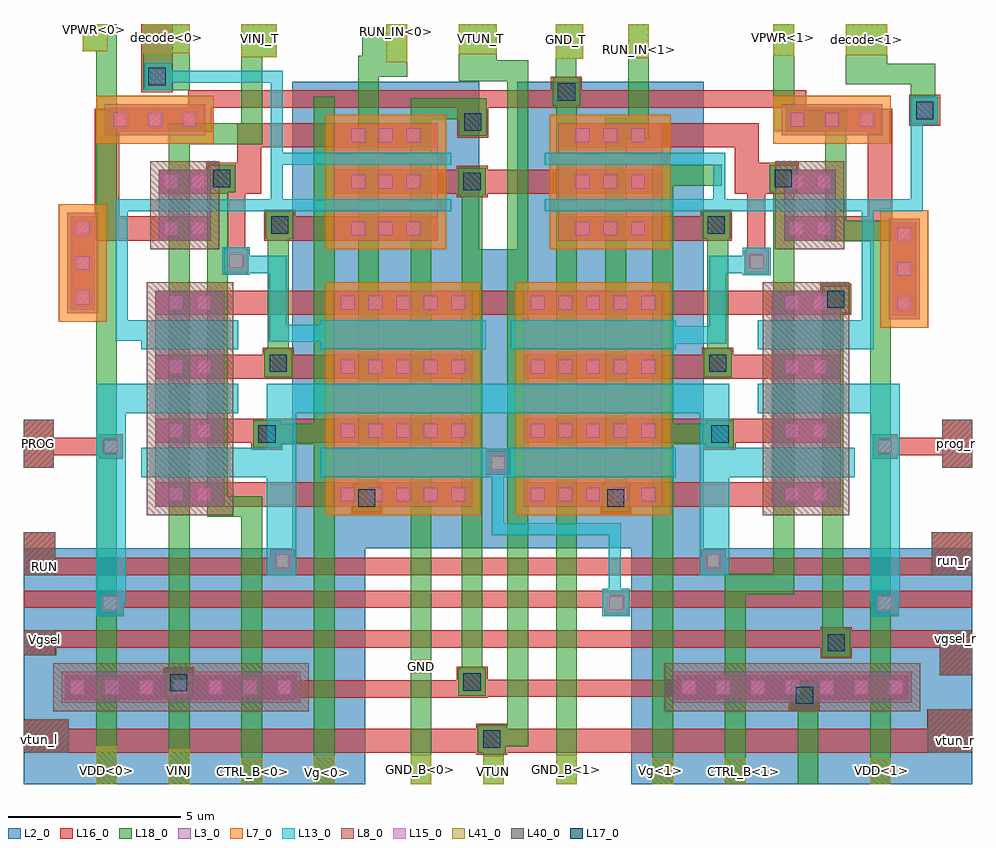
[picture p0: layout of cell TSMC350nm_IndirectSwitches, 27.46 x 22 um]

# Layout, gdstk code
from math import pi, radians
import gdstk
lib = gdstk.Library(unit=1e-6, precision=1e-09)
def R(c, l, rs):  # rectangles x0, y0, x1, y1
    for r in rs: c.add(gdstk.rectangle(r[:2], r[2:], *l))
def A(c, l, x, y, w, h, nx, ny, dx, dy):  # array of equal rectangles
    R(c, l, [(x+i*dx, y+j*dy, x+i*dx+w, y+j*dy+h) for i in range(nx) for j in range(ny)])
def P(c, l, *ps):  # polygons
    for p in ps: c.add(gdstk.Polygon(p, *l))
L2_0 = (2, 0)
L3_0 = (3, 0)
L7_0 = (7, 0)
L8_0 = (8, 0)
L13_0 = (13, 0)
L15_0 = (15, 0)
L16_0 = (16, 0)
L17_0 = (17, 0)
L18_0 = (18, 0)
L40_0 = (40, 0)
L41_0 = (41, 0)

nch_cdns_731000754340 = lib.new_cell('nch_CDNS_731000754340')
R(nch_cdns_731000754340, L3_0, [(-0.85,0,-0.15,1.5), (-0.85,0,-0.15,1.5), (-0.15,0,0.5,1.5), (0.5,0,1.2,1.5), (0.5,0,1.2,1.5)])
R(nch_cdns_731000754340, L8_0, [(-1.1,-0.25,1.45,1.75)])
R(nch_cdns_731000754340, L13_0, [(0,-0.4,0.35,1.9)])
R(nch_cdns_731000754340, L15_0, [(-0.7,0.15,-0.3,0.55), (0.65,0.15,1.05,0.55), (-0.7,0.95,-0.3,1.35), (0.65,0.95,1.05,1.35)])
R(nch_cdns_731000754340, L16_0, [(-0.85,0,-0.15,1.5), (0.5,0,1.2,1.5)])
nch_cdns_731000754340.add(gdstk.Label('G', (0.175,0.75), layer=59, texttype=0))
nch_cdns_731000754340.add(gdstk.Label('S', (-0.5,0.75), layer=59, texttype=0))
nch_cdns_731000754340.add(gdstk.Label('D', (0.85,0.75), layer=59, texttype=0))
nch_cdns_731000754340.add(gdstk.Label('& Vendor VIS Corp.', (0,0), layer=16, texttype=0))
nch_cdns_731000754340.add(gdstk.Label('& PDKName     vis35cv', (0,0), layer=16, texttype=0))
nch_cdns_731000754340.add(gdstk.Label('& Version    \t  1.7A', (0,0), layer=16, texttype=0))
nch_cdns_731000754340.add(gdstk.Label('& Metric 1', (0,0), layer=16, texttype=0))
nch_cdns_731000754340.add(gdstk.Label('& Distributor VIS', (0,0), layer=16, texttype=0))
nch_cdns_731000754340.add(gdstk.Label('& SerialNumber 000000', (0,0), layer=16, texttype=0))
nch_cdns_731000754340.add(gdstk.Label('& Vendor VIS Corp.', (0,0), layer=63, texttype=63))
nch_cdns_731000754340.add(gdstk.Label('& PDKName     vis35cv', (0,0), layer=63, texttype=63))
nch_cdns_731000754340.add(gdstk.Label('& Version    \t  1.7A', (0,0), layer=63, texttype=63))
nch_cdns_731000754340.add(gdstk.Label('& Metric 1', (0,0), layer=63, texttype=63))
nch_cdns_731000754340.add(gdstk.Label('& Distributor VIS', (0,0), layer=63, texttype=63))
nch_cdns_731000754340.add(gdstk.Label('& SerialNumber 000000', (0,0), layer=63, texttype=63))

nch_cdns_731000754341 = lib.new_cell('nch_CDNS_731000754341')
A(nch_cdns_731000754341, L3_0, -0.85, 0, 0.7, 2, 4, 1, 1.85, 0)
A(nch_cdns_731000754341, L3_0, -0.15, 0, 1.15, 2, 3, 1, 1.85, 0)
R(nch_cdns_731000754341, L3_0, [(-0.85,0,-0.15,2), (4.7,0,5.4,2)])
R(nch_cdns_731000754341, L8_0, [(-1.1,-0.25,5.65,2.25)])
A(nch_cdns_731000754341, L13_0, 0, -0.4, 0.85, 2.8, 3, 1, 1.85, 0)
A(nch_cdns_731000754341, L15_0, -0.7, 0.4, 0.4, 0.4, 4, 2, 1.85, 0.8)
A(nch_cdns_731000754341, L16_0, -0.85, 0, 0.7, 2, 4, 1, 1.85, 0)
nch_cdns_731000754341.add(gdstk.Label('G', (0.425,1), layer=59, texttype=0))
nch_cdns_731000754341.add(gdstk.Label('G', (2.275,1), layer=59, texttype=0))
nch_cdns_731000754341.add(gdstk.Label('G', (4.125,1), layer=59, texttype=0))
nch_cdns_731000754341.add(gdstk.Label('S', (-0.5,1), layer=59, texttype=0))
nch_cdns_731000754341.add(gdstk.Label('S', (3.2,1), layer=59, texttype=0))
nch_cdns_731000754341.add(gdstk.Label('D', (5.05,1), layer=59, texttype=0))
nch_cdns_731000754341.add(gdstk.Label('D', (1.35,1), layer=59, texttype=0))
nch_cdns_731000754341.add(gdstk.Label('& Vendor VIS Corp.', (0,0), layer=16, texttype=0))
nch_cdns_731000754341.add(gdstk.Label('& PDKName     vis35cv', (0,0), layer=16, texttype=0))
nch_cdns_731000754341.add(gdstk.Label('& Version    \t  1.7A', (0,0), layer=16, texttype=0))
nch_cdns_731000754341.add(gdstk.Label('& Metric 1', (0,0), layer=16, texttype=0))
nch_cdns_731000754341.add(gdstk.Label('& Distributor VIS', (0,0), layer=16, texttype=0))
nch_cdns_731000754341.add(gdstk.Label('& SerialNumber 000000', (0,0), layer=16, texttype=0))
nch_cdns_731000754341.add(gdstk.Label('& Vendor VIS Corp.', (0,0), layer=63, texttype=63))
nch_cdns_731000754341.add(gdstk.Label('& PDKName     vis35cv', (0,0), layer=63, texttype=63))
nch_cdns_731000754341.add(gdstk.Label('& Version    \t  1.7A', (0,0), layer=63, texttype=63))
nch_cdns_731000754341.add(gdstk.Label('& Metric 1', (0,0), layer=63, texttype=63))
nch_cdns_731000754341.add(gdstk.Label('& Distributor VIS', (0,0), layer=63, texttype=63))
nch_cdns_731000754341.add(gdstk.Label('& SerialNumber 000000', (0,0), layer=63, texttype=63))

pch_cdns_731000754342 = lib.new_cell('pch_CDNS_731000754342')
R(pch_cdns_731000754342, L2_0, [(-2.05,-1.2,6.6,5.2)])
A(pch_cdns_731000754342, L3_0, -0.85, 0, 0.7, 4, 4, 1, 1.85, 0)
A(pch_cdns_731000754342, L3_0, -0.15, 0, 1.15, 4, 3, 1, 1.85, 0)
R(pch_cdns_731000754342, L3_0, [(-0.85,0,-0.15,4), (4.7,0,5.4,4)])
R(pch_cdns_731000754342, L7_0, [(-1.1,-0.25,5.65,4.25)])
A(pch_cdns_731000754342, L13_0, 0, -0.4, 0.85, 4.8, 3, 1, 1.85, 0)
A(pch_cdns_731000754342, L15_0, -0.7, 0.2, 0.4, 0.4, 4, 5, 1.85, 0.8)
A(pch_cdns_731000754342, L16_0, -0.85, 0, 0.7, 4, 4, 1, 1.85, 0)
pch_cdns_731000754342.add(gdstk.Label('G', (0.425,2), layer=59, texttype=0))
pch_cdns_731000754342.add(gdstk.Label('G', (2.275,2), layer=59, texttype=0))
pch_cdns_731000754342.add(gdstk.Label('G', (4.125,2), layer=59, texttype=0))
pch_cdns_731000754342.add(gdstk.Label('S', (-0.5,2), layer=59, texttype=0))
pch_cdns_731000754342.add(gdstk.Label('S', (3.2,2), layer=59, texttype=0))
pch_cdns_731000754342.add(gdstk.Label('D', (5.05,2), layer=59, texttype=0))
pch_cdns_731000754342.add(gdstk.Label('D', (1.35,2), layer=59, texttype=0))
pch_cdns_731000754342.add(gdstk.Label('& Vendor VIS Corp.', (0,0), layer=16, texttype=0))
pch_cdns_731000754342.add(gdstk.Label('& PDKName     vis35cv', (0,0), layer=16, texttype=0))
pch_cdns_731000754342.add(gdstk.Label('& Version    \t  1.7A', (0,0), layer=16, texttype=0))
pch_cdns_731000754342.add(gdstk.Label('& Metric 1', (0,0), layer=16, texttype=0))
pch_cdns_731000754342.add(gdstk.Label('& Distributor VIS', (0,0), layer=16, texttype=0))
pch_cdns_731000754342.add(gdstk.Label('& SerialNumber 000000', (0,0), layer=16, texttype=0))
pch_cdns_731000754342.add(gdstk.Label('& Vendor VIS Corp.', (0,0), layer=63, texttype=63))
pch_cdns_731000754342.add(gdstk.Label('& PDKName     vis35cv', (0,0), layer=63, texttype=63))
pch_cdns_731000754342.add(gdstk.Label('& Version    \t  1.7A', (0,0), layer=63, texttype=63))
pch_cdns_731000754342.add(gdstk.Label('& Metric 1', (0,0), layer=63, texttype=63))
pch_cdns_731000754342.add(gdstk.Label('& Distributor VIS', (0,0), layer=63, texttype=63))
pch_cdns_731000754342.add(gdstk.Label('& SerialNumber 000000', (0,0), layer=63, texttype=63))

pch_cdns_731000754343 = lib.new_cell('pch_CDNS_731000754343')
R(pch_cdns_731000754343, L2_0, [(-2.05,-1.2,3.75,4.2)])
A(pch_cdns_731000754343, L3_0, -0.85, 0, 0.7, 3, 3, 1, 1.35, 0)
R(pch_cdns_731000754343, L3_0, [(-0.85,0,-0.15,3), (-0.15,0,0.5,3), (1.2,0,1.85,3), (1.85,0,2.55,3)])
R(pch_cdns_731000754343, L7_0, [(-1.1,-0.25,2.8,3.25)])
R(pch_cdns_731000754343, L13_0, [(0,-0.4,0.35,3.4), (1.35,-0.4,1.7,3.4)])
A(pch_cdns_731000754343, L15_0, -0.7, 0.5, 0.4, 0.4, 3, 3, 1.35, 0.8)
A(pch_cdns_731000754343, L16_0, -0.85, 0, 0.7, 3, 3, 1, 1.35, 0)
pch_cdns_731000754343.add(gdstk.Label('G', (0.175,1.5), layer=59, texttype=0))
pch_cdns_731000754343.add(gdstk.Label('G', (1.525,1.5), layer=59, texttype=0))
pch_cdns_731000754343.add(gdstk.Label('S', (2.2,1.5), layer=59, texttype=0))
pch_cdns_731000754343.add(gdstk.Label('S', (-0.5,1.5), layer=59, texttype=0))
pch_cdns_731000754343.add(gdstk.Label('D', (0.85,1.5), layer=59, texttype=0))
pch_cdns_731000754343.add(gdstk.Label('& Vendor VIS Corp.', (0,0), layer=16, texttype=0))
pch_cdns_731000754343.add(gdstk.Label('& PDKName     vis35cv', (0,0), layer=16, texttype=0))
pch_cdns_731000754343.add(gdstk.Label('& Version    \t  1.7A', (0,0), layer=16, texttype=0))
pch_cdns_731000754343.add(gdstk.Label('& Metric 1', (0,0), layer=16, texttype=0))
pch_cdns_731000754343.add(gdstk.Label('& Distributor VIS', (0,0), layer=16, texttype=0))
pch_cdns_731000754343.add(gdstk.Label('& SerialNumber 000000', (0,0), layer=16, texttype=0))
pch_cdns_731000754343.add(gdstk.Label('& Vendor VIS Corp.', (0,0), layer=63, texttype=63))
pch_cdns_731000754343.add(gdstk.Label('& PDKName     vis35cv', (0,0), layer=63, texttype=63))
pch_cdns_731000754343.add(gdstk.Label('& Version    \t  1.7A', (0,0), layer=63, texttype=63))
pch_cdns_731000754343.add(gdstk.Label('& Metric 1', (0,0), layer=63, texttype=63))
pch_cdns_731000754343.add(gdstk.Label('& Distributor VIS', (0,0), layer=63, texttype=63))
pch_cdns_731000754343.add(gdstk.Label('& SerialNumber 000000', (0,0), layer=63, texttype=63))

m1_pactive_cdns_73100075 = lib.new_cell('M1_PACTIVE_CDNS_731000754341')
R(m1_pactive_cdns_73100075, L3_0, [(-1.45,-0.45,1.45,0.45)])
R(m1_pactive_cdns_73100075, L7_0, [(-1.7,-0.7,1.7,0.7)])
A(m1_pactive_cdns_73100075, L15_0, -1.2, -0.2, 0.4, 0.4, 3, 1, 1, 0)
R(m1_pactive_cdns_73100075, L16_0, [(-1.35,-0.35,1.35,0.35)])

prog_periph_via2_cdns_75 = lib.new_cell('prog_periph_VIA2_CDNS_757104477250')
R(prog_periph_via2_cdns_75, L16_0, [(-0.45,-0.45,0.45,0.45)])
R(prog_periph_via2_cdns_75, L17_0, [(-0.25,-0.25,0.25,0.25)])
R(prog_periph_via2_cdns_75, L18_0, [(-0.4,-0.4,0.4,0.4)])

m1_poly1__190324780_cdns = lib.new_cell('M1_POLY1$$190324780_CDNS_757104477251')
R(m1_poly1__190324780_cdns, L13_0, [(-0.4,-0.4,0.4,0.4)])
R(m1_poly1__190324780_cdns, L15_0, [(-0.2,-0.2,0.2,0.2)])
R(m1_poly1__190324780_cdns, L16_0, [(-0.35,-0.35,0.35,0.35)])

m1_nactive_cdns_75710447 = lib.new_cell('M1_NACTIVE_CDNS_757104477252')
R(m1_nactive_cdns_75710447, L3_0, [(-3.45,-0.45,3.45,0.45)])
R(m1_nactive_cdns_75710447, L8_0, [(-3.7,-0.7,3.7,0.7)])
A(m1_nactive_cdns_75710447, L15_0, -3.2, -0.2, 0.4, 0.4, 7, 1, 1, 0)
R(m1_nactive_cdns_75710447, L16_0, [(-3.35,-0.35,3.35,0.35)])

tsmc350nm_indirectswitch = lib.new_cell('TSMC350nm_IndirectSwitches')
R(tsmc350nm_indirectswitch, L2_0, [(0,0,9.88,6.83), (17.58,0,27.46,6.83)])
R(tsmc350nm_indirectswitch, L13_0, [(13.38,8.88,14.13,8.9), (24.05,12.93,24.26,13.43), (3.01,13.18,3.41,13.43)])
P(tsmc350nm_indirectswitch, L13_0, [(7.25,16.58),(7.15,16.68),(7.15,16.83),(7.25,16.93),(8.58,16.93),(8.58,16.58)],
  [(23.625,16.58),(23.525,16.68),(23.525,16.83),(23.625,16.93),(24.61,16.93),(24.61,16.58)])
R(tsmc350nm_indirectswitch, L16_0, [(0,0.9,27.46,1.6), (0,1.6,1.31,1.88), (26.16,1.6,27.46,2.17), (26.52,3.15,27.46,3.95), (0,3.72,0.94,3.95), (0,3.95,27.46,4.45), (0,5.1,27.46,5.6), (0,6.05,27.46,6.55), (0,6.55,0.91,7.29), (26.28,6.55,27.46,7.29), (0,9.15,0.87,10.55), (26.59,9.15,27.46,10.55), (5.91,15.11,6.42,17.08), (20.95,15.11,21.46,17.08), (21.28,17.78,21.54,17.98), (5.15,18.88,5.45,19.58), (4.76,19.58,22.65,20.08), (3.41,20.93,4.31,22)])
R(tsmc350nm_indirectswitch, L18_0, [(21.7,5.49,22.3,17.93), (4.2,18.52,6.3,19.12), (17.5,18.68,18.1,22), (21.7,18.9,22.3,22), (25.68,19.1,26.28,19.9), (2.1,19.29,2.7,22), (25.68,19.9,25.78,20.25), (23.8,20.3,24.4,22), (15.4,20.43,16,22), (10.5,20.48,11.1,22), (12.6,20.48,13.2,22), (24.4,20.85,25,22), (3.46,20.88,4.2,22), (13.2,20.95,13.7,22), (16,21,16.2,22), (6.9,21.04,7.32,22), (9.8,21.08,10.5,21.79), (1.71,21.21,2.7,22)])
R(tsmc350nm_indirectswitch, L40_0, [(0,0.9,1.31,1.88), (26.17,0.9,27.46,2.17), (26.52,3.15,27.46,4.45), (0,3.72,0.91,4.45), (0,6.05,0.91,7.29), (26.28,6.05,27.46,7.29), (0,9.15,0.87,10.55), (26.59,9.15,27.46,10.55)])
R(tsmc350nm_indirectswitch, L41_0, [(2.1,0,2.7,1.09), (4.2,0,4.8,1), (11.2,0,11.8,0.85), (13.3,0,13.9,0.82), (15.41,0,16.01,0.85), (18.2,0,18.8,0.76), (24.5,0,25.1,0.75), (8.4,0.005,9,0.825), (6.3,0.01,6.9,0.76), (20.3,0.01,20.9,0.75), (11.2,3.21,11.8,3.6), (10.5,20.9,11.1,22), (15.4,21,16.2,22), (17.5,21.01,18.1,22), (6.3,21.04,7.32,22), (21.7,21.08,22.3,22), (23.8,21.09,25,22), (12.6,21.12,13.7,22), (3.46,21.16,4.8,22), (1.71,21.21,2.43,22)])
tsmc350nm_indirectswitch.add(gdstk.FlexPath([(17.115,5.1),(17.115,7.375)], 0.35, ends=(0, 0.175), simple_path=True, layer=13, datatype=0))  # L13_0
tsmc350nm_indirectswitch.add(gdstk.FlexPath([(3.41,11.155),(2.32,11.155)], 0.85, ends="flush", simple_path=True, layer=13, datatype=0))  # L13_0
tsmc350nm_indirectswitch.add(gdstk.FlexPath([(2.525,11.155),(2.525,5.25)], 0.85, ends=(0.425, 0), simple_path=True, layer=13, datatype=0))  # L13_0
tsmc350nm_indirectswitch.add(gdstk.FlexPath([(19.995,11.155),(19.995,9.305)], 0.85, ends="extended", simple_path=True, layer=13, datatype=0))  # L13_0
tsmc350nm_indirectswitch.add(gdstk.FlexPath([(17.115,7.375),(13.725,7.375)], 0.35, ends="extended", simple_path=True, layer=13, datatype=0))  # L13_0
tsmc350nm_indirectswitch.add(gdstk.FlexPath([(6.21,9.305),(7.465,9.305)], 0.85, ends=(0, 0.425), simple_path=True, layer=13, datatype=0))  # L13_0
tsmc350nm_indirectswitch.add(gdstk.FlexPath([(7.465,11.155),(7.465,9.305)], 0.85, ends="extended", simple_path=True, layer=13, datatype=0))  # L13_0
tsmc350nm_indirectswitch.add(gdstk.FlexPath([(13.725,7.375),(13.725,9.3)], 0.35, ends=(0.175, 0), simple_path=True, layer=13, datatype=0))  # L13_0
tsmc350nm_indirectswitch.add(gdstk.FlexPath([(8.58,11.155),(7.465,11.155)], 0.85, ends=(0, 0.425), simple_path=True, layer=13, datatype=0))  # L13_0
tsmc350nm_indirectswitch.add(gdstk.FlexPath([(21.25,9.305),(19.995,9.305)], 0.85, ends=(0, 0.425), simple_path=True, layer=13, datatype=0))  # L13_0
tsmc350nm_indirectswitch.add(gdstk.FlexPath([(7.465,9.305),(7.465,6.05)], 0.85, ends=(0.425, 0), simple_path=True, layer=13, datatype=0))  # L13_0
tsmc350nm_indirectswitch.add(gdstk.FlexPath([(24.725,11.155),(25.14,11.155)], 0.85, ends=(0.425, 0), simple_path=True, layer=13, datatype=0))  # L13_0
tsmc350nm_indirectswitch.add(gdstk.FlexPath([(24.935,11.165),(24.935,5.26)], 0.85, ends=(0.425, 0), simple_path=True, layer=13, datatype=0))  # L13_0
tsmc350nm_indirectswitch.add(gdstk.FlexPath([(24.05,11.155),(24.725,11.155)], 0.85, ends=(0, 0.425), simple_path=True, layer=13, datatype=0))  # L13_0
tsmc350nm_indirectswitch.add(gdstk.FlexPath([(18.88,11.155),(19.995,11.155)], 0.85, ends=(0, 0.425), simple_path=True, layer=13, datatype=0))  # L13_0
tsmc350nm_indirectswitch.add(gdstk.FlexPath([(19.995,9.305),(19.995,6.05)], 0.85, ends=(0.425, 0), simple_path=True, layer=13, datatype=0))  # L13_0
tsmc350nm_indirectswitch.add(gdstk.FlexPath([(18.88,13),(20.09,13)], 0.5, ends=(0, 0.25), simple_path=True, layer=13, datatype=0))  # L13_0
tsmc350nm_indirectswitch.add(gdstk.FlexPath([(20.09,13),(20.09,15.04)], 0.5, ends="extended", simple_path=True, layer=13, datatype=0))  # L13_0
tsmc350nm_indirectswitch.add(gdstk.FlexPath([(7.36,15.04),(6.15,15.04)], 0.5, ends=(0.25, 0), simple_path=True, layer=13, datatype=0))  # L13_0
tsmc350nm_indirectswitch.add(gdstk.FlexPath([(8.58,13.05),(7.36,13.05)], 0.5, ends=(0, 0.25), simple_path=True, layer=13, datatype=0))  # L13_0
tsmc350nm_indirectswitch.add(gdstk.FlexPath([(13.38,11.155),(14.08,11.155)], 0.85, ends="flush", simple_path=True, layer=13, datatype=0))  # L13_0
tsmc350nm_indirectswitch.add(gdstk.FlexPath([(7.36,13.05),(7.36,15.04)], 0.5, ends="extended", simple_path=True, layer=13, datatype=0))  # L13_0
tsmc350nm_indirectswitch.add(gdstk.FlexPath([(2.835,13.005),(3.41,13.005)], 0.35, ends=(0.175, 0), simple_path=True, layer=13, datatype=0))  # L13_0
tsmc350nm_indirectswitch.add(gdstk.FlexPath([(20.135,18.105),(20.135,16.755)], 0.35, ends="extended", simple_path=True, layer=13, datatype=0))  # L13_0
tsmc350nm_indirectswitch.add(gdstk.FlexPath([(18.88,18.105),(20.135,18.105)], 0.35, ends=(0, 0.175), simple_path=True, layer=13, datatype=0))  # L13_0
tsmc350nm_indirectswitch.add(gdstk.FlexPath([(3.51,16.755),(2.835,16.755)], 0.35, ends=(0, 0.175), simple_path=True, layer=13, datatype=0))  # L13_0
tsmc350nm_indirectswitch.add(gdstk.FlexPath([(18.88,16.755),(20.135,16.755)], 0.35, ends=(0, 0.175), simple_path=True, layer=13, datatype=0))  # L13_0
tsmc350nm_indirectswitch.add(gdstk.FlexPath([(20.135,16.755),(21.61,16.755)], 0.35, ends=(0.175, 0), simple_path=True, layer=13, datatype=0))  # L13_0
tsmc350nm_indirectswitch.add(gdstk.FlexPath([(2.835,16.755),(2.835,13.005)], 0.35, ends="extended", simple_path=True, layer=13, datatype=0))  # L13_0
tsmc350nm_indirectswitch.add(gdstk.FlexPath([(20.09,15.04),(21.22,15.04)], 0.5, ends=(0.25, 0), simple_path=True, layer=13, datatype=0))  # L13_0
tsmc350nm_indirectswitch.add(gdstk.FlexPath([(24.435,12.755),(24.05,12.755)], 0.35, ends=(0.175, 0), simple_path=True, layer=13, datatype=0))  # L13_0
tsmc350nm_indirectswitch.add(gdstk.FlexPath([(7.33,20.47),(4.475,20.47)], 0.35, ends="extended", simple_path=True, layer=13, datatype=0))  # L13_0
tsmc350nm_indirectswitch.add(gdstk.FlexPath([(24.435,16.755),(24.435,12.755)], 0.35, ends="extended", simple_path=True, layer=13, datatype=0))  # L13_0
tsmc350nm_indirectswitch.add(gdstk.FlexPath([(25.855,19.9),(25.855,16.755)], 0.35, ends=(0, 0.175), simple_path=True, layer=13, datatype=0))  # L13_0
tsmc350nm_indirectswitch.add(gdstk.FlexPath([(25.855,16.755),(24.435,16.755)], 0.35, ends="extended", simple_path=True, layer=13, datatype=0))  # L13_0
tsmc350nm_indirectswitch.add(gdstk.FlexPath([(8.58,18.105),(7.33,18.105)], 0.35, ends=(0, 0.175), simple_path=True, layer=13, datatype=0))  # L13_0
tsmc350nm_indirectswitch.add(gdstk.FlexPath([(7.325,18.105),(7.325,16.755)], 0.35, ends="extended", simple_path=True, layer=13, datatype=0))  # L13_0
tsmc350nm_indirectswitch.add(gdstk.FlexPath([(7.33,18.105),(7.33,20.47)], 0.35, ends="extended", simple_path=True, layer=13, datatype=0))  # L13_0
tsmc350nm_indirectswitch.add(gdstk.FlexPath([(7.325,16.755),(5.77,16.755)], 0.35, ends=(0.175, 0), simple_path=True, layer=13, datatype=0))  # L13_0
tsmc350nm_indirectswitch.add(gdstk.FlexPath([(0,9.77),(2.53,9.77)], 0.5, ends="flush", simple_path=True, layer=16, datatype=0))  # L16_0
tsmc350nm_indirectswitch.add(gdstk.FlexPath([(24.93,9.77),(27.46,9.77)], 0.5, ends="flush", simple_path=True, layer=16, datatype=0))  # L16_0
tsmc350nm_indirectswitch.add(gdstk.FlexPath([(11.97,17.43),(15.48,17.43)], 0.7, ends="flush", simple_path=True, layer=16, datatype=0))  # L16_0
tsmc350nm_indirectswitch.add(gdstk.FlexPath([(12.98,2.75),(12.98,2.77)], 0.5, ends="extended", simple_path=True, layer=16, datatype=0))  # L16_0
tsmc350nm_indirectswitch.add(gdstk.FlexPath([(12.98,2.75),(4.2,2.75)], 0.5, ends=(0.25, 0), simple_path=True, layer=16, datatype=0))  # L16_0
tsmc350nm_indirectswitch.add(gdstk.FlexPath([(12.98,2.77),(22.73,2.77)], 0.5, ends=(0.25, 0), simple_path=True, layer=16, datatype=0))  # L16_0
tsmc350nm_indirectswitch.add(gdstk.FlexPath([(2.41,16.08),(2.41,19.55)], 0.7, ends=(0.35, 0), simple_path=True, layer=16, datatype=0))  # L16_0
tsmc350nm_indirectswitch.add(gdstk.FlexPath([(4.16,16.08),(2.41,16.08)], 0.7, ends=(0, 0.35), simple_path=True, layer=16, datatype=0))  # L16_0
tsmc350nm_indirectswitch.add(gdstk.FlexPath([(24.79,16.08),(24.79,19.55)], 0.7, ends=(0.35, 0), simple_path=True, layer=16, datatype=0))  # L16_0
tsmc350nm_indirectswitch.add(gdstk.FlexPath([(23.24,16.08),(24.79,16.08)], 0.7, ends=(0, 0.35), simple_path=True, layer=16, datatype=0))  # L16_0
tsmc350nm_indirectswitch.add(gdstk.FlexPath([(21.65,10.23),(18.48,10.23)], 0.7, ends="flush", simple_path=True, layer=16, datatype=0))  # L16_0
tsmc350nm_indirectswitch.add(gdstk.FlexPath([(21.65,12.08),(18.48,12.08)], 0.7, ends="flush", simple_path=True, layer=16, datatype=0))  # L16_0
tsmc350nm_indirectswitch.add(gdstk.FlexPath([(5.81,10.23),(8.98,10.23)], 0.7, ends="flush", simple_path=True, layer=16, datatype=0))  # L16_0
tsmc350nm_indirectswitch.add(gdstk.FlexPath([(14.48,13.93),(12.98,13.93)], 0.7, ends="flush", simple_path=True, layer=16, datatype=0))  # L16_0
tsmc350nm_indirectswitch.add(gdstk.FlexPath([(21.65,8.38),(18.48,8.38)], 0.7, ends="flush", simple_path=True, layer=16, datatype=0))  # L16_0
tsmc350nm_indirectswitch.add(gdstk.FlexPath([(5.81,12.08),(8.98,12.08)], 0.7, ends="flush", simple_path=True, layer=16, datatype=0))  # L16_0
tsmc350nm_indirectswitch.add(gdstk.FlexPath([(5.81,8.38),(8.98,8.38)], 0.7, ends="flush", simple_path=True, layer=16, datatype=0))  # L16_0
tsmc350nm_indirectswitch.add(gdstk.FlexPath([(5.81,13.93),(8.98,13.93)], 0.7, ends="flush", simple_path=True, layer=16, datatype=0))  # L16_0
tsmc350nm_indirectswitch.add(gdstk.FlexPath([(21.65,13.93),(18.48,13.93)], 0.7, ends="flush", simple_path=True, layer=16, datatype=0))  # L16_0
tsmc350nm_indirectswitch.add(gdstk.FlexPath([(9.01,16.08),(7.07,16.08)], 0.7, ends="flush", simple_path=True, layer=16, datatype=0))  # L16_0
tsmc350nm_indirectswitch.add(gdstk.FlexPath([(20.93,17.43),(20.93,18.78)], 0.7, ends="extended", simple_path=True, layer=16, datatype=0))  # L16_0
tsmc350nm_indirectswitch.add(gdstk.FlexPath([(18.45,16.08),(20.39,16.08)], 0.7, ends="flush", simple_path=True, layer=16, datatype=0))  # L16_0
tsmc350nm_indirectswitch.add(gdstk.FlexPath([(21.8,17.43),(20.93,17.43)], 0.7, ends=(0, 0.35), simple_path=True, layer=16, datatype=0))  # L16_0
tsmc350nm_indirectswitch.add(gdstk.FlexPath([(6.53,17.43),(6.53,18.78)], 0.7, ends="extended", simple_path=True, layer=16, datatype=0))  # L16_0
tsmc350nm_indirectswitch.add(gdstk.FlexPath([(6.53,18.78),(8.98,18.78)], 0.7, ends=(0.35, 0), simple_path=True, layer=16, datatype=0))  # L16_0
tsmc350nm_indirectswitch.add(gdstk.FlexPath([(20.93,18.78),(18.48,18.78)], 0.7, ends=(0.35, 0), simple_path=True, layer=16, datatype=0))  # L16_0
tsmc350nm_indirectswitch.add(gdstk.FlexPath([(5.66,17.43),(6.53,17.43)], 0.7, ends=(0, 0.35), simple_path=True, layer=16, datatype=0))  # L16_0
tsmc350nm_indirectswitch.add(gdstk.FlexPath([(6.6,18.92),(6.6,22)], 0.6, ends=(0.4, 0), simple_path=True, layer=18, datatype=0))  # L18_0
tsmc350nm_indirectswitch.add(gdstk.FlexPath([(22.7,0),(22.7,2.97)], 0.6, ends="flush", simple_path=True, layer=18, datatype=0))  # L18_0
tsmc350nm_indirectswitch.add(gdstk.FlexPath([(4.5,0),(4.5,19.12)], 0.6, ends="flush", simple_path=True, layer=18, datatype=0))  # L18_0
tsmc350nm_indirectswitch.add(gdstk.FlexPath([(11.5,19.55),(11.5,19.85)], 0.6, ends=(0.3, 0), simple_path=True, layer=18, datatype=0))  # L18_0
tsmc350nm_indirectswitch.add(gdstk.FlexPath([(15.71,0),(15.71,20.43)], 0.6, ends="flush", simple_path=True, layer=18, datatype=0))  # L18_0
tsmc350nm_indirectswitch.add(gdstk.FlexPath([(12.98,2.95),(12.98,17.44)], 0.6, ends="flush", simple_path=True, layer=18, datatype=0))  # L18_0
tsmc350nm_indirectswitch.add(gdstk.FlexPath([(11.5,0),(11.5,19.55)], 0.6, ends=(0, 0.3), simple_path=True, layer=18, datatype=0))  # L18_0
tsmc350nm_indirectswitch.add(gdstk.FlexPath([(13.1,19.55),(11.5,19.55)], 0.6, ends="extended", simple_path=True, layer=18, datatype=0))  # L18_0
tsmc350nm_indirectswitch.add(gdstk.FlexPath([(23.42,4),(23.42,14.25)], 0.6, ends="flush", simple_path=True, layer=18, datatype=0))  # L18_0
tsmc350nm_indirectswitch.add(gdstk.FlexPath([(12.6,20.65),(14.3,20.65)], 0.6, ends=(0, 0.3), simple_path=True, layer=18, datatype=0))  # L18_0
tsmc350nm_indirectswitch.add(gdstk.FlexPath([(14.3,20.65),(14.3,1.4)], 0.6, ends="extended", simple_path=True, layer=18, datatype=0))  # L18_0
tsmc350nm_indirectswitch.add(gdstk.FlexPath([(14.3,1.4),(13.6,1.4)], 0.6, ends="extended", simple_path=True, layer=18, datatype=0))  # L18_0
tsmc350nm_indirectswitch.add(gdstk.FlexPath([(13.6,1.4),(13.6,0)], 0.6, ends=(0.3, 0), simple_path=True, layer=18, datatype=0))  # L18_0
tsmc350nm_indirectswitch.add(gdstk.FlexPath([(6.6,8.03),(5.61,8.03)], 0.6, ends="extended", simple_path=True, layer=18, datatype=0))  # L18_0
tsmc350nm_indirectswitch.add(gdstk.FlexPath([(20.6,5.79),(21.87,5.79)], 0.6, ends=(0.3, 0), simple_path=True, layer=18, datatype=0))  # L18_0
tsmc350nm_indirectswitch.add(gdstk.FlexPath([(20.6,0),(20.6,5.79)], 0.6, ends=(0, 0.3), simple_path=True, layer=18, datatype=0))  # L18_0
tsmc350nm_indirectswitch.add(gdstk.FlexPath([(6.6,0),(6.6,8.03)], 0.6, ends=(0, 0.3), simple_path=True, layer=18, datatype=0))  # L18_0
tsmc350nm_indirectswitch.add(gdstk.FlexPath([(18.5,0),(18.5,10.13)], 0.6, ends=(0, 0.3), simple_path=True, layer=18, datatype=0))  # L18_0
tsmc350nm_indirectswitch.add(gdstk.FlexPath([(20.16,10.13),(18.5,10.13)], 0.6, ends=(0, 0.3), simple_path=True, layer=18, datatype=0))  # L18_0
tsmc350nm_indirectswitch.add(gdstk.FlexPath([(8.7,0),(8.7,10.13)], 0.6, ends=(0, 0.3), simple_path=True, layer=18, datatype=0))  # L18_0
tsmc350nm_indirectswitch.add(gdstk.FlexPath([(18.5,17.62),(20.2,17.62)], 0.6, ends=(0.3, 0), simple_path=True, layer=18, datatype=0))  # L18_0
tsmc350nm_indirectswitch.add(gdstk.FlexPath([(7.04,10.13),(8.7,10.13)], 0.6, ends=(0, 0.3), simple_path=True, layer=18, datatype=0))  # L18_0
tsmc350nm_indirectswitch.add(gdstk.FlexPath([(7.37,12.18),(7.37,16.39)], 0.6, ends="flush", simple_path=True, layer=18, datatype=0))  # L18_0
tsmc350nm_indirectswitch.add(gdstk.FlexPath([(5.61,8.03),(5.61,17.78)], 0.6, ends=(0.3, 0), simple_path=True, layer=18, datatype=0))  # L18_0
tsmc350nm_indirectswitch.add(gdstk.FlexPath([(20.09,12.18),(20.09,16.39)], 0.6, ends="flush", simple_path=True, layer=18, datatype=0))  # L18_0
tsmc350nm_indirectswitch.add(gdstk.FlexPath([(18.5,10.13),(18.5,17.62)], 0.6, ends="extended", simple_path=True, layer=18, datatype=0))  # L18_0
tsmc350nm_indirectswitch.add(gdstk.FlexPath([(8.7,10.13),(8.7,19.9)], 0.6, ends=(0.3, 0), simple_path=True, layer=18, datatype=0))  # L18_0
tsmc350nm_indirectswitch.add(gdstk.FlexPath([(24.8,0),(24.8,16.01)], 0.6, ends=(0, 0.3), simple_path=True, layer=18, datatype=0))  # L18_0
tsmc350nm_indirectswitch.add(gdstk.FlexPath([(23.51,19.2),(22.06,19.2)], 0.6, ends=(0.3, 0), simple_path=True, layer=18, datatype=0))  # L18_0
tsmc350nm_indirectswitch.add(gdstk.FlexPath([(24.8,16.01),(23.51,16.01)], 0.6, ends="extended", simple_path=True, layer=18, datatype=0))  # L18_0
tsmc350nm_indirectswitch.add(gdstk.FlexPath([(2.4,0),(2.4,19.9)], 0.6, ends="flush", simple_path=True, layer=18, datatype=0))  # L18_0
tsmc350nm_indirectswitch.add(gdstk.FlexPath([(23.51,16.01),(23.51,19.2)], 0.6, ends="extended", simple_path=True, layer=18, datatype=0))  # L18_0
tsmc350nm_indirectswitch.add(gdstk.FlexPath([(26.08,20.55),(23.8,20.55)], 0.6, ends=(0.3, 0), simple_path=True, layer=18, datatype=0))  # L18_0
tsmc350nm_indirectswitch.add(gdstk.FlexPath([(26.08,19.5),(26.08,20.55)], 0.6, ends=(0, 0.3), simple_path=True, layer=18, datatype=0))  # L18_0
tsmc350nm_indirectswitch.add(gdstk.FlexPath([(9.98,20.78),(11.1,20.78)], 0.6, ends=(0.3, 0), simple_path=True, layer=18, datatype=0))  # L18_0
tsmc350nm_indirectswitch.add(gdstk.FlexPath([(4.5,20.48),(4.5,22)], 0.6, ends=(0.4, 0), simple_path=True, layer=18, datatype=0))  # L18_0
tsmc350nm_indirectswitch.add(gdstk.FlexPath([(9.98,8.28),(9.98,20.78)], 0.6, ends=(0, 0.3), simple_path=True, layer=18, datatype=0))  # L18_0
tsmc350nm_indirectswitch.add(gdstk.FlexPath([(17.14,8.28),(17.14,18.98)], 0.6, ends=(0, 0.3), simple_path=True, layer=18, datatype=0))  # L18_0
tsmc350nm_indirectswitch.add(gdstk.FlexPath([(17.14,18.98),(18.1,18.98)], 0.6, ends=(0.3, 0), simple_path=True, layer=18, datatype=0))  # L18_0
tsmc350nm_indirectswitch.add(gdstk.Reference(nch_cdns_731000754340, (3.91,16.93), rotation=3*pi/2))
tsmc350nm_indirectswitch.add(gdstk.Reference(nch_cdns_731000754340, (22.01,16.93), rotation=3*pi/2))
tsmc350nm_indirectswitch.add(gdstk.Reference(nch_cdns_731000754341, (21.65,13.43), rotation=3*pi/2))
tsmc350nm_indirectswitch.add(gdstk.Reference(nch_cdns_731000754341, (5.81,13.43), rotation=3*pi/2, x_reflection=True))
tsmc350nm_indirectswitch.add(gdstk.Reference(pch_cdns_731000754342, (8.98,13.43), rotation=3*pi/2))
tsmc350nm_indirectswitch.add(gdstk.Reference(pch_cdns_731000754342, (14.48,13.43), rotation=3*pi/2))
tsmc350nm_indirectswitch.add(gdstk.Reference(pch_cdns_731000754343, (15.48,18.28), rotation=3*pi/2))
tsmc350nm_indirectswitch.add(gdstk.Reference(pch_cdns_731000754343, (8.98,18.28), rotation=3*pi/2))
tsmc350nm_indirectswitch.add(gdstk.Reference(m1_pactive_cdns_73100075, (3.8,19.23)))
tsmc350nm_indirectswitch.add(gdstk.Reference(m1_pactive_cdns_73100075, (23.4,19.23)))
tsmc350nm_indirectswitch.add(gdstk.Reference(m1_pactive_cdns_73100075, (25.49,14.91), rotation=pi/2))
tsmc350nm_indirectswitch.add(gdstk.Reference(m1_pactive_cdns_73100075, (1.71,15.08), rotation=pi/2))
tsmc350nm_indirectswitch.add(gdstk.Reference(prog_periph_via2_cdns_75, (13.55,1.3)))
tsmc350nm_indirectswitch.add(gdstk.Reference(prog_periph_via2_cdns_75, (3.86,20.48)))
tsmc350nm_indirectswitch.add(gdstk.Reference(prog_periph_via2_cdns_75, (4.49,2.93)))
tsmc350nm_indirectswitch.add(gdstk.Reference(prog_periph_via2_cdns_75, (23.52,4.09)))
tsmc350nm_indirectswitch.add(gdstk.Reference(prog_periph_via2_cdns_75, (17.14,8.28)))
tsmc350nm_indirectswitch.add(gdstk.Reference(prog_periph_via2_cdns_75, (5.73,17.53)))
tsmc350nm_indirectswitch.add(gdstk.Reference(prog_periph_via2_cdns_75, (20.16,10.13)))
tsmc350nm_indirectswitch.add(gdstk.Reference(prog_periph_via2_cdns_75, (7.04,10.13), rotation=pi, x_reflection=True))
tsmc350nm_indirectswitch.add(gdstk.Reference(prog_periph_via2_cdns_75, (12.98,17.44)))
tsmc350nm_indirectswitch.add(gdstk.Reference(prog_periph_via2_cdns_75, (23.51,14.03)))
tsmc350nm_indirectswitch.add(gdstk.Reference(prog_periph_via2_cdns_75, (15.71,20.03)))
tsmc350nm_indirectswitch.add(gdstk.Reference(prog_periph_via2_cdns_75, (13,19.16)))
tsmc350nm_indirectswitch.add(gdstk.Reference(prog_periph_via2_cdns_75, (9.93,8.28)))
tsmc350nm_indirectswitch.add(gdstk.Reference(prog_periph_via2_cdns_75, (12.98,2.95)))
tsmc350nm_indirectswitch.add(gdstk.Reference(prog_periph_via2_cdns_75, (22.6,2.57)))
tsmc350nm_indirectswitch.add(gdstk.Reference(prog_periph_via2_cdns_75, (7.41,16.18), rotation=pi, x_reflection=True))
tsmc350nm_indirectswitch.add(gdstk.Reference(prog_periph_via2_cdns_75, (7.37,12.18), rotation=pi, x_reflection=True))
tsmc350nm_indirectswitch.add(gdstk.Reference(prog_periph_via2_cdns_75, (21.99,17.53)))
tsmc350nm_indirectswitch.add(gdstk.Reference(prog_periph_via2_cdns_75, (20.05,16.18)))
tsmc350nm_indirectswitch.add(gdstk.Reference(prog_periph_via2_cdns_75, (20.09,12.18)))
tsmc350nm_indirectswitch.add(gdstk.Reference(prog_periph_via2_cdns_75, (26.08,19.5)))
tsmc350nm_indirectswitch.add(gdstk.Reference(m1_poly1__190324780_cdns, (3.9,20.48)))
tsmc350nm_indirectswitch.add(gdstk.Reference(m1_poly1__190324780_cdns, (19.97,6.45)))
tsmc350nm_indirectswitch.add(gdstk.Reference(m1_poly1__190324780_cdns, (24.93,5.25)))
tsmc350nm_indirectswitch.add(gdstk.Reference(m1_poly1__190324780_cdns, (13.73,9.3)))
tsmc350nm_indirectswitch.add(gdstk.Reference(m1_poly1__190324780_cdns, (7.49,6.45)))
tsmc350nm_indirectswitch.add(gdstk.Reference(m1_poly1__190324780_cdns, (2.5,5.25), rotation=pi, x_reflection=True))
tsmc350nm_indirectswitch.add(gdstk.Reference(m1_poly1__190324780_cdns, (26.08,19.5)))
tsmc350nm_indirectswitch.add(gdstk.Reference(m1_poly1__190324780_cdns, (6.15,15.14)))
tsmc350nm_indirectswitch.add(gdstk.Reference(m1_poly1__190324780_cdns, (21.22,15.12)))
tsmc350nm_indirectswitch.add(gdstk.Reference(m1_poly1__190324780_cdns, (17.15,5.25)))
tsmc350nm_indirectswitch.add(gdstk.Reference(m1_nactive_cdns_75710447, (22.25,2.8)))
tsmc350nm_indirectswitch.add(gdstk.Reference(m1_nactive_cdns_75710447, (4.55,2.8)))
tsmc350nm_indirectswitch.add(gdstk.Reference(m1_poly1__190324780_cdns, (2.52,9.77)))
tsmc350nm_indirectswitch.add(gdstk.Reference(m1_poly1__190324780_cdns, (24.93,9.77)))
tsmc350nm_indirectswitch.add(gdstk.Label('GND_B<1>', (15.71,0.42), layer=41, texttype=0))
tsmc350nm_indirectswitch.add(gdstk.Label('GND_B<0>', (11.5,0.42), layer=41, texttype=0))
tsmc350nm_indirectswitch.add(gdstk.Label('GND', (11.51,3.4), layer=41, texttype=0))
tsmc350nm_indirectswitch.add(gdstk.Label('GND_T', (15.67,21.54), layer=41, texttype=0))
tsmc350nm_indirectswitch.add(gdstk.Label('VINJ_T', (6.82,21.57), layer=41, texttype=0))
tsmc350nm_indirectswitch.add(gdstk.Label('VDD<1>', (24.83,0.39), layer=41, texttype=0))
tsmc350nm_indirectswitch.add(gdstk.Label('VTUN', (13.6,0.36), layer=41, texttype=0))
tsmc350nm_indirectswitch.add(gdstk.Label('VINJ', (4.52,0.4), layer=41, texttype=0))
tsmc350nm_indirectswitch.add(gdstk.Label('VDD<0>', (2.4,0.38), layer=41, texttype=0))
tsmc350nm_indirectswitch.add(gdstk.Label('Vg<0>', (8.77,0.345), layer=41, texttype=0))
tsmc350nm_indirectswitch.add(gdstk.Label('CTRL_B<0>', (6.63,0.35), layer=41, texttype=0))
tsmc350nm_indirectswitch.add(gdstk.Label('CTRL_B<1>', (20.84,0.35), layer=41, texttype=0))
tsmc350nm_indirectswitch.add(gdstk.Label('Vg<1>', (18.44,0.4), layer=41, texttype=0))
tsmc350nm_indirectswitch.add(gdstk.Label('decode<0>', (4.13,21.62), layer=41, texttype=0))
tsmc350nm_indirectswitch.add(gdstk.Label('RUN_IN<1>', (17.84,21.25), layer=41, texttype=0))
tsmc350nm_indirectswitch.add(gdstk.Label('RUN_IN<0>', (10.8,21.79), layer=41, texttype=0))
tsmc350nm_indirectswitch.add(gdstk.Label('VPWR<1>', (22,21.61), layer=41, texttype=0))
tsmc350nm_indirectswitch.add(gdstk.Label('decode<1>', (24.41,21.54), layer=41, texttype=0))
tsmc350nm_indirectswitch.add(gdstk.Label('VPWR<0>', (2.04,21.85), layer=41, texttype=0))
tsmc350nm_indirectswitch.add(gdstk.Label('VTUN_T', (13.22,21.57), layer=41, texttype=0))
tsmc350nm_indirectswitch.add(gdstk.Label('vtun_r', (26.96,1.25), layer=40, texttype=0))
tsmc350nm_indirectswitch.add(gdstk.Label('vgsel_r', (26.96,4.2), layer=40, texttype=0))
tsmc350nm_indirectswitch.add(gdstk.Label('prog_r', (27.01,9.86), layer=40, texttype=0))
tsmc350nm_indirectswitch.add(gdstk.Label('run_r', (26.91,6.47), layer=40, texttype=0))
tsmc350nm_indirectswitch.add(gdstk.Label('RUN', (0.61,6.29), layer=40, texttype=0))
tsmc350nm_indirectswitch.add(gdstk.Label('PROG', (0.43,9.85), layer=40, texttype=0))
tsmc350nm_indirectswitch.add(gdstk.Label('Vgsel', (0.61,4.19), layer=40, texttype=0))
tsmc350nm_indirectswitch.add(gdstk.Label('vtun_l', (0.46,1.28), layer=40, texttype=0))

lib.write_gds('TSMC350nm_IndirectSwitches.gds')
